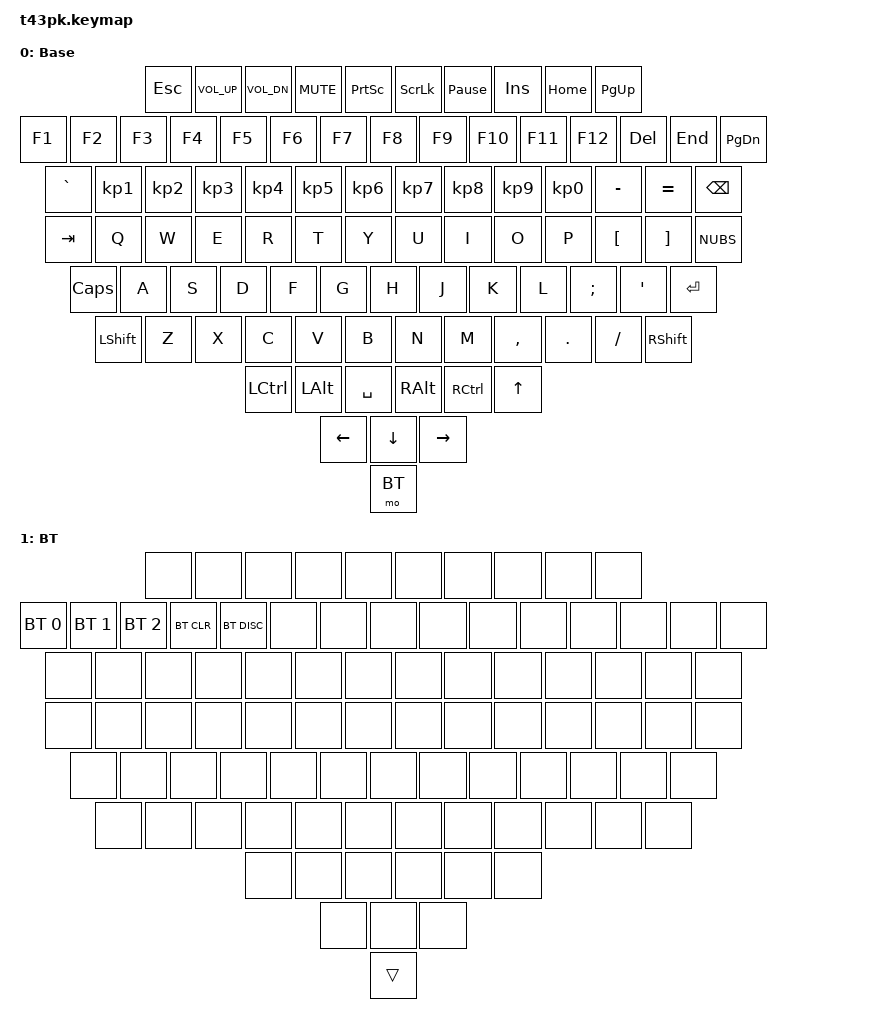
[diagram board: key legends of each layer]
#include <behaviors.dtsi>
#include <dt-bindings/zmk/bt.h>
#include <dt-bindings/zmk/keys.h>


#define BT 1


// https://zmk.dev/docs/development/hardware-integration/soft-off-setup?advanced-methods=wakeup&kscan-type=dkscan
/ {
    keys {
        compatible = "gpio-keys";
        soft_off_gpio_key: soft_off_gpio_key {
            gpios = <&gpio0 17 (GPIO_ACTIVE_LOW | GPIO_PULL_UP)>;
        };
    };
    wakeup_scan: wakeup_scan {
        compatible = "zmk,kscan-gpio-direct";
        input-keys = <&soft_off_gpio_key>;
        wakeup-source;
    };
    
    soft_off_wakers {
        compatible = "zmk,soft-off-wakeup-sources";
        wakeup-sources = <&wakeup_scan>;
    };
};

/ {
    keymap {
        compatible = "zmk,keymap";
        default_layer {
            display-name = "Base";
            bindings = <
            /*  C0          C1              C2              C3              C4              C5              C6              C7                       
                &bt BT_CLR_ALL       &kp RCTRL       &none           &none           &none           &kp LCTRL       &none           &none
                &kp RALT    &none           &kp PRINTSCREEN &kp SLCK        &none           &none           &kp LALT        &none
                &none       &kp RSHIFT      &none           &none           &kp LSHIFT      &none           &none           &none
                &kp LEFT    &none           &none           &none           &none           &kp HOME        &kp UP          &none
                &none       &kp Z           &kp NUMBER_1    &kp Q           &kp TAB         &none           &kp ESC         &kp A
                &none       &none           &none           &none           &none           &none           &none           &none
                &kp RIGHT   &none           &kp F12         &none           &none           &kp INSERT      &none           &none
                &kp DOWN    &none           &kp F11         &none           &none           &kp DEL         &none           &none
                &none       &none           &kp NUMBER_0    &kp P           &kp LBKT        &kp MINUS       &kp SQT         &kp SEMI
                &none       &kp C           &kp NUMBER_3    &kp E           &kp F3          &kp F2          &kp F4          &kp D
                &none       &kp DOT         &kp NUMBER_9    &kp O           &kp F7          &kp F8          &none           &kp L
                &kp B       &kp V           &kp NUMBER_4    &kp R           &kp T           &kp NUMBER_5    &kp G           &kp F
                &none       &kp X           &kp NUMBER_2    &kp W           &kp CAPSLOCK    &kp F1          &none           &kp S
                &kp SPACE   &kp ENTER       &kp F10         &none           &kp BACKSPACE   &kp F9          &kp F5          &kp BACKSLASH
                &none       &kp COMMA       &kp NUMBER_8    &kp I           &kp RBKT        &kp EQUAL       &kp F6          &kp K
                &kp N       &kp M           &kp NUMBER_7    &kp U           &kp Y           &kp NUMBER_6    &kp H           &kp J */

                &kp ESC         &kp C_VOL_UP    &kp C_VOL_DN    &kp C_MUTE      &kp PRINTSCREEN &kp SCROLLLOCK  &kp PAUSE_BREAK     &kp INSERT      &kp HOME    &kp PAGE_UP
                &kp F1          &kp F2          &kp F3          &kp F4          &kp F5          &kp F6          &kp F7              &kp F8          &kp F9      &kp F10     &kp F11  &kp F12  &kp DELETE &kp END &kp PAGE_DOWN 
                &kp GRAVE       &kp KP_N1       &kp KP_N2       &kp KP_N3       &kp KP_N4       &kp KP_N5       &kp KP_N6           &kp KP_N7       &kp KP_N8       &kp KP_N9       &kp KP_N0 &kp MINUS &kp EQUAL &kp BACKSPACE
                &kp TAB &kp Q &kp W &kp E &kp R  &kp T  &kp Y  &kp U  &kp I  &kp O  &kp P &kp LBKT &kp RBKT &kp NUBS
                &kp CAPSLOCK  &kp A &kp S  &kp D  &kp F  &kp G  &kp H  &kp J  &kp K  &kp L &kp SEMICOLON &kp SQT &kp ENTER
                &kp LSHIFT &kp Z &kp X &kp C &kp V &kp B &kp N &kp M &kp COMMA &kp DOT &kp SLASH &kp RSHIFT
                &kp LCTRL &kp LALT &kp SPACE &kp RALT &kp RCTRL &kp UP
                &kp LEFT &kp DOWN &kp RIGHT 
                &mo BT
            >;
        };

        bt_layer {
            display-name = "BT";
            bindings = <
                &none &none &none &none &none &none &none &none &none &none
                &bt BT_SEL 0    &bt BT_SEL 1    &bt BT_SEL 2  &bt BT_CLR      &bt BT_DISC     &none &none &none &none &none &none &none &none &none &none
                &none &none &none &none &none &none &none &none &none &none &none &none &none &none 
                &none &none &none &none &none &none &none &none &none &none &none &none &none &none 
                &none &none &none &none &none &none &none &none &none &none &none &none &none 
                &none &none &none &none &none &none &none &none &none &none &none &none 
                &none &none &none &none &none &none
                &none &none &none
                &trans  
            >;
        };

    };

};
